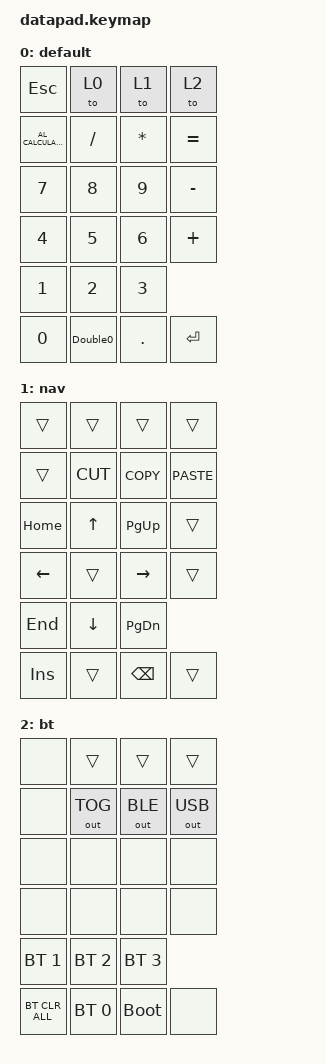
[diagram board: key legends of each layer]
#include <behaviors.dtsi>
#include <dt-bindings/zmk/bt.h>
#include <dt-bindings/zmk/keys.h>
#include <dt-bindings/zmk/outputs.h>

#define DEFAULT 0
#define BT    1
#define NONE 0

/ {
    macros {
        Double0: Double0 {
            compatible = "zmk,behavior-macro";
            #binding-cells = <0>;
            bindings = <&kp NUMBER_0 &kp NUMBER_0>, <&macro_press>;

            label = "DOUBLE0";
        };
    };

    keymap {
        compatible = "zmk,keymap";

        default {
            bindings = <
&kp ESC              &to 0         &to 1         &to 2
&kp C_AL_CALCULATOR  &kp SLASH     &kp ASTERISK  &kp EQUAL
&kp NUMBER_7         &kp NUMBER_8  &kp NUMBER_9  &kp MINUS
&kp NUMBER_4         &kp N5        &kp NUMBER_6  &kp PLUS
&kp NUMBER_1         &kp NUMBER_2  &kp NUMBER_3
&kp NUMBER_0         &Double0      &kp DOT       &kp ENTER
            >;
        };

        nav {
            bindings = <
&trans      &trans        &trans         &trans
&trans      &kp K_CUT     &kp K_COPY     &kp K_PASTE
&kp HOME    &kp UP_ARROW  &kp PAGE_UP    &trans
&kp LEFT    &trans        &kp RIGHT      &trans
&kp END     &kp DOWN      &kp PAGE_DOWN
&kp INSERT  &trans        &kp BACKSPACE  &trans
            >;
        };

        bt {
            bindings = <
&none           &trans        &trans        &trans
&none           &out OUT_TOG  &out OUT_BLE  &out OUT_USB
&none           &none         &none         &none
&none           &none         &none         &none
&bt BT_SEL 1    &bt BT_SEL 2  &bt BT_SEL 3
&bt BT_CLR_ALL  &bt BT_SEL 0  &bootloader   &none
            >;
        };
    };
};
